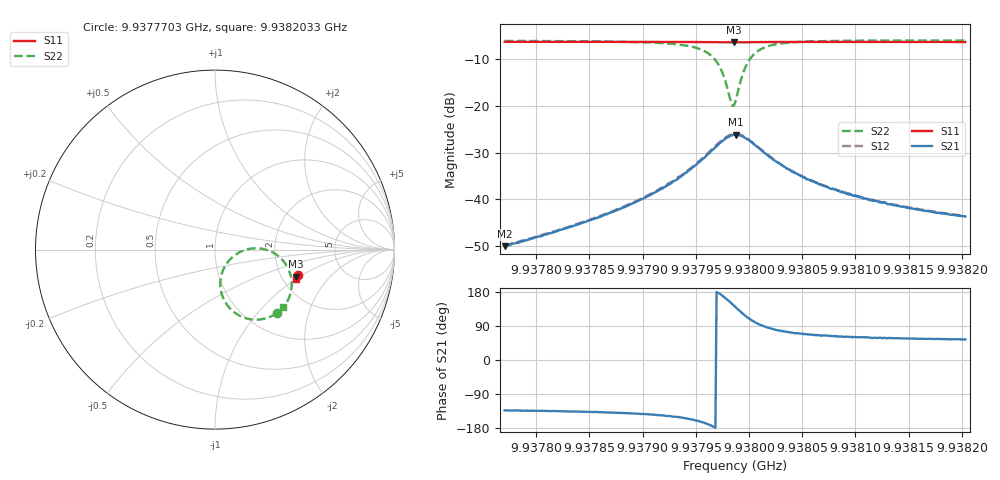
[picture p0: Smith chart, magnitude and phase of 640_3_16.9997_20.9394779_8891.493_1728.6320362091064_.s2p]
#  HZ  S  RI  R  50.00
! Rohde & Schwarz Vector Network Analyzer
! Rohde-Schwarz,ZNB20-2Port,1311601062101988,3.16
! Created: UTC 3/20/2024, 11:20:48 PM
! freq[Hz]  re:S11  im:S11  re:S21  im:S21  re:S12  im:S12  re:S22  im:S22
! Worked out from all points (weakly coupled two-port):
!   401 points, 9.9377703 GHz to 9.9382033 GHz, reference 50 ohm
!   highest |S21| = -26.20 dB at 9.9379879 GHz (marker M1); lowest = -50.0 dB at 9.9377703 GHz (marker M2)
!   lowest |S11| = -6.5 dB at 9.9379857 GHz (marker M3), VSWR 2.81, Z = 119 - j46.3 ohm
!   |S11| at or under -10 dB: nowhere
!   |S22| runs from -20.0 to -6.1 dB; largest |S21 - S12| = 0.0023
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9.93777035e9  0.4611 -0.1392  -0.00215 -0.00231  -0.00224 -0.00231  0.3438 -0.3537
9.93784286e9  0.4589 -0.1442  -0.00404 -0.00382  -0.00416 -0.00382  0.3232 -0.3667
9.93788398e9  0.4577 -0.1471  -0.0064 -0.00533  -0.00663 -0.00535  0.2997 -0.3776
9.93791537e9  0.4566 -0.1495  -0.0103 -0.00703  -0.0106 -0.00703  0.2644 -0.3875
9.93794567e9  0.4547 -0.1519  -0.0194 -0.00842  -0.02 -0.00829  0.1868 -0.3862
9.93796299e9  0.4529 -0.1527  -0.031 -0.0048  -0.0321 -0.00438  0.0959 -0.34
9.93797273e9  0.4514 -0.1525  -0.0399 0.00405  -0.0408 0.00531  0.0394 -0.2535
9.93797706e9  0.4507 -0.152  -0.0424 0.0111  -0.0432 0.0128  0.0295 -0.1918
9.93798247e9  0.4503 -0.151  -0.042 0.0223  -0.0424 0.0241  0.0499 -0.1035
9.93798464e9  0.4505 -0.1507  -0.0404 0.0266  -0.0405 0.0288  0.0711 -0.0698
9.93798572e9  0.4504 -0.1504  -0.0392 0.0288  -0.0392 0.031  0.0841 -0.0548
9.9379868e9  0.4506 -0.1503  -0.0379 0.0308  -0.0377 0.0329  0.0989 -0.0406
9.93798788e9  0.4507 -0.1501  -0.0364 0.0328  -0.036 0.0348  0.1144 -0.0285
9.93799329e9  0.4514 -0.1494  -0.0266 0.039  -0.0256 0.0409  0.204 0.00595
9.93799654e9  0.4521 -0.1493  -0.0202 0.0404  -0.0189 0.0418  0.2566 0.00541
9.93800195e9  0.4531 -0.1496  -0.0109 0.0397  -0.00973 0.0402  0.3268 -0.0185
9.93800736e9  0.4537 -0.1501  -0.00462 0.0363  -0.00337 0.0369  0.373 -0.0548
9.93802468e9  0.4548 -0.1523  0.00459 0.0253  0.00505 0.0255  0.4244 -0.1562
9.93805931e9  0.4542 -0.1559  0.00623 0.0144  0.00658 0.0143  0.4198 -0.2473
9.93809178e9  0.4535 -0.1583  0.00548 0.00996  0.00586 0.0101  0.4069 -0.2811
9.93813183e9  0.4524 -0.1612  0.00468 0.00753  0.00495 0.00749  0.3946 -0.3023
9.93820326e9  0.4502 -0.1661  0.00381 0.00532  0.00396 0.0053  0.3806 -0.3212
